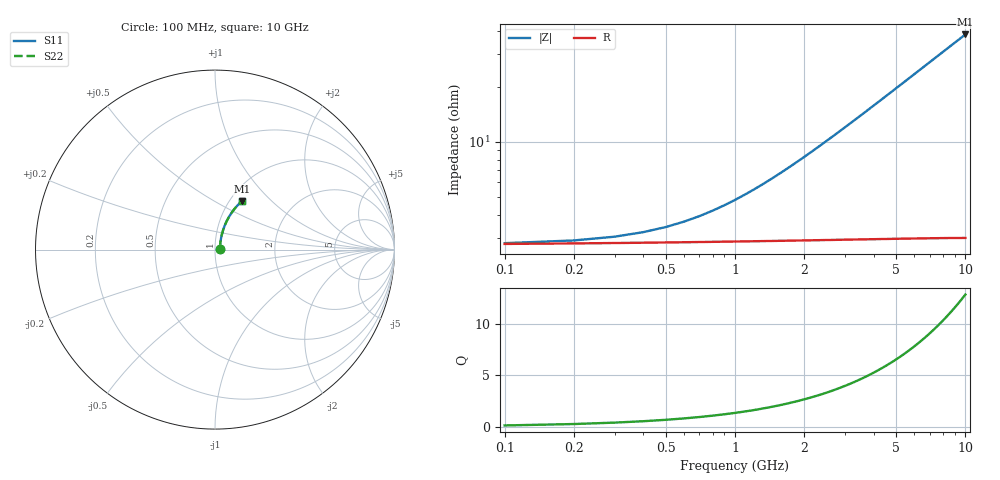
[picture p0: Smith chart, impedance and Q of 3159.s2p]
# Hz S RI R 50.00
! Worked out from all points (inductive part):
!   100 points, 100 MHz to 10 GHz, reference 50 ohm
!   read as one part in series: L = 617 pH near 2.3 GHz
!   highest Q = 12.8 at 10 GHz (marker M1), where L = 611 pH
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1e8  0.027 0.00316  0.973 -0.00419  0.973 -0.00419  0.027 0.00316
2e8  0.0272 0.00631  0.9728 -0.00838  0.9728 -0.00838  0.0272 0.00631
3e8  0.0274 0.00946  0.9726 -0.0126  0.9726 -0.0126  0.0274 0.00946
4e8  0.0276 0.0126  0.9724 -0.0168  0.9724 -0.0168  0.0276 0.0126
6e8  0.028 0.0189  0.9719 -0.0251  0.9719 -0.0251  0.028 0.0189
1e9  0.0291 0.0315  0.9708 -0.0418  0.9708 -0.0418  0.0291 0.0315
1.3e9  0.0302 0.0408  0.9697 -0.0543  0.9697 -0.0543  0.0302 0.0408
1.5e9  0.0311 0.0471  0.9688 -0.0626  0.9688 -0.0626  0.0311 0.0471
1.8e9  0.0325 0.0564  0.9673 -0.075  0.9673 -0.075  0.0325 0.0564
2.1e9  0.0342 0.0657  0.9656 -0.0874  0.9656 -0.0874  0.0342 0.0657
2.5e9  0.0368 0.0779  0.9629 -0.1038  0.9629 -0.1038  0.0368 0.0779
2.9e9  0.0397 0.0901  0.9598 -0.1201  0.9598 -0.1201  0.0397 0.0901
3.4e9  0.044 0.105  0.9553 -0.1402  0.9553 -0.1402  0.044 0.105
3.8e9  0.0479 0.1168  0.9513 -0.1562  0.9513 -0.1562  0.0479 0.1168
4.2e9  0.0521 0.1285  0.9469 -0.172  0.9469 -0.172  0.0521 0.1285
4.6e9  0.0568 0.1399  0.942 -0.1876  0.942 -0.1876  0.0568 0.1399
5.1e9  0.0631 0.1539  0.9355 -0.2068  0.9355 -0.2068  0.0631 0.1539
5.9e9  0.0743 0.1757  0.9238 -0.2369  0.9238 -0.2369  0.0743 0.1757
6.7e9  0.0868 0.1964  0.9107 -0.266  0.9107 -0.266  0.0868 0.1964
7.5e9  0.1004 0.2161  0.8964 -0.294  0.8964 -0.294  0.1004 0.2161
8.4e9  0.1172 0.2368  0.8789 -0.3242  0.8789 -0.3242  0.1172 0.2368
1e10  0.1498 0.2699  0.8446 -0.3741  0.8446 -0.3741  0.1498 0.2699
